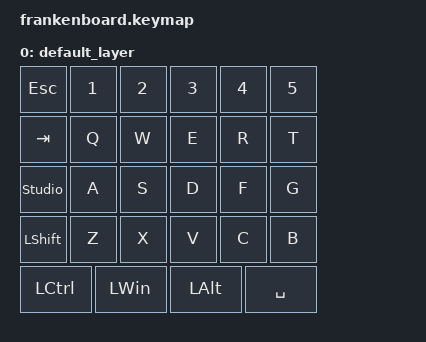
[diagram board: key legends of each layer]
// This file was generated from a template. Edit it to match your keyboard.
// See https://zmk.dev/docs/development/hardware-integration/new-shield for more instructions.
// This is a test change

#include <behaviors.dtsi>
#include <dt-bindings/zmk/keys.h>

/ {
    // Define a default keymap here.
    // See https://zmk.dev/docs/development/hardware-integration/new-shield#default-keymap.
    keymap {
        compatible = "zmk,keymap";

        default_layer {
            bindings = <
                &kp ESC &kp N1 &kp N2 &kp N3 &kp N4 &kp N5
                &kp TAB &kp Q &kp W &kp E &kp R &kp T
                &studio_unlock &kp A &kp S &kp D &kp F &kp G
                &kp LSHIFT &kp Z &kp X &kp V &kp C &kp B
                &kp LCTRL &kp LEFT_WIN &kp LALT &kp SPACE
            >;
        };
    };
};
